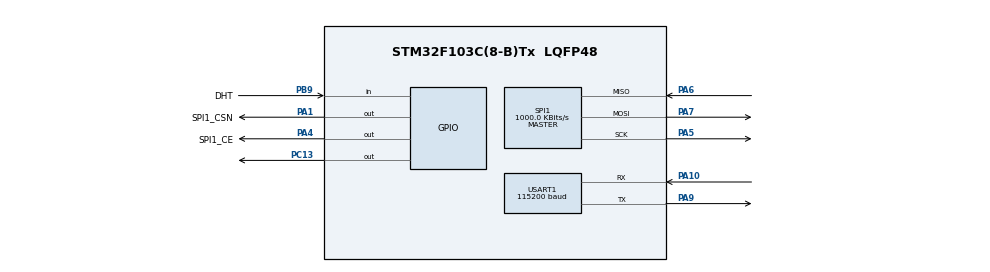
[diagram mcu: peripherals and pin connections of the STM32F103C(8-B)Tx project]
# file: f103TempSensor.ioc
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Dma.Request0=USART1_RX
Dma.Request1=USART1_TX
Dma.Request2=SPI1_RX
Dma.Request3=SPI1_TX
Dma.SPI1_RX.2.Direction=DMA_PERIPH_TO_MEMORY
Dma.SPI1_RX.2.Instance=DMA1_Channel2
Dma.SPI1_RX.2.MemDataAlignment=DMA_MDATAALIGN_BYTE
Dma.SPI1_RX.2.MemInc=DMA_MINC_ENABLE
Dma.SPI1_RX.2.Mode=DMA_NORMAL
Dma.SPI1_RX.2.PeriphDataAlignment=DMA_PDATAALIGN_BYTE
Dma.SPI1_RX.2.PeriphInc=DMA_PINC_DISABLE
Dma.SPI1_RX.2.Priority=DMA_PRIORITY_LOW
Dma.SPI1_TX.3.Direction=DMA_MEMORY_TO_PERIPH
Dma.SPI1_TX.3.Instance=DMA1_Channel3
Dma.SPI1_TX.3.MemDataAlignment=DMA_MDATAALIGN_BYTE
Dma.SPI1_TX.3.MemInc=DMA_MINC_ENABLE
Dma.SPI1_TX.3.Mode=DMA_NORMAL
Dma.SPI1_TX.3.PeriphDataAlignment=DMA_PDATAALIGN_BYTE
Dma.SPI1_TX.3.PeriphInc=DMA_PINC_DISABLE
Dma.SPI1_TX.3.Priority=DMA_PRIORITY_LOW
Dma.USART1_RX.0.Direction=DMA_PERIPH_TO_MEMORY
Dma.USART1_RX.0.Instance=DMA1_Channel5
Dma.USART1_RX.0.MemDataAlignment=DMA_MDATAALIGN_BYTE
Dma.USART1_RX.0.MemInc=DMA_MINC_ENABLE
Dma.USART1_RX.0.Mode=DMA_NORMAL
Dma.USART1_RX.0.PeriphDataAlignment=DMA_PDATAALIGN_BYTE
Dma.USART1_RX.0.PeriphInc=DMA_PINC_DISABLE
Dma.USART1_RX.0.Priority=DMA_PRIORITY_LOW
Dma.USART1_TX.1.Direction=DMA_MEMORY_TO_PERIPH
Dma.USART1_TX.1.Instance=DMA1_Channel4
Dma.USART1_TX.1.MemDataAlignment=DMA_MDATAALIGN_BYTE
Dma.USART1_TX.1.MemInc=DMA_MINC_ENABLE
Dma.USART1_TX.1.Mode=DMA_NORMAL
Dma.USART1_TX.1.PeriphDataAlignment=DMA_PDATAALIGN_BYTE
Dma.USART1_TX.1.PeriphInc=DMA_PINC_DISABLE
Dma.USART1_TX.1.Priority=DMA_PRIORITY_LOW
IWDG.Prescaler=IWDG_PRESCALER_256
Mcu.Family=STM32F1
Mcu.Name=STM32F103C(8-B)Tx
Mcu.Package=LQFP48
NVIC.DMA1_Channel2_IRQn=true\:0\:0\:false\:false\:true\:false\:true
NVIC.DMA1_Channel3_IRQn=true\:0\:0\:false\:false\:true\:false\:true
NVIC.DMA1_Channel4_IRQn=true\:0\:0\:false\:false\:true\:false\:true
NVIC.DMA1_Channel5_IRQn=true\:0\:0\:false\:false\:true\:false\:true
NVIC.PriorityGroup=NVIC_PRIORITYGROUP_4
NVIC.SPI1_IRQn=true\:0\:0\:false\:false\:true\:true\:true
NVIC.USART1_IRQn=true\:0\:0\:false\:false\:true\:true\:true
PA1.GPIO_Label=SPI1_CSN
PA1.Signal=GPIO_Output
PA10.Mode=Asynchronous
PA10.Signal=USART1_RX
PA13.Mode=Serial_Wire
PA13.Signal=SYS_JTMS-SWDIO
PA14.Mode=Serial_Wire
PA14.Signal=SYS_JTCK-SWCLK
PA4.GPIO_Label=SPI1_CE
PA4.Signal=GPIO_Output
PA5.Mode=Full_Duplex_Master
PA5.Signal=SPI1_SCK
PA6.Mode=Full_Duplex_Master
PA6.Signal=SPI1_MISO
PA7.Mode=Full_Duplex_Master
PA7.Signal=SPI1_MOSI
PA9.Mode=Asynchronous
PA9.Signal=USART1_TX
PB9.GPIO_Label=DHT
PB9.Signal=GPIO_Input
PC13-TAMPER-RTC.Signal=GPIO_Output
PC14-OSC32_IN.Mode=LSE-External-Oscillator
PC14-OSC32_IN.Signal=RCC_OSC32_IN
PC15-OSC32_OUT.Mode=LSE-External-Oscillator
PC15-OSC32_OUT.Signal=RCC_OSC32_OUT
PD0-OSC_IN.Mode=HSE-External-Oscillator
PD0-OSC_IN.Signal=RCC_OSC_IN
PD1-OSC_OUT.Mode=HSE-External-Oscillator
PD1-OSC_OUT.Signal=RCC_OSC_OUT
ProjectManager.HeapSize=0x400
ProjectManager.StackSize=0x800
ProjectManager.TargetToolchain=Other Toolchains (GPDSC)
RCC.APB1Freq_Value=8000000
RCC.APB2Freq_Value=8000000
RCC.PLLSourceVirtual=RCC_PLLSOURCE_HSE
RCC.RTCClockSelection=RCC_RTCCLKSOURCE_LSE
RCC.SYSCLKSource=RCC_SYSCLKSOURCE_HSE
RCC.USBFreq_Value=16000000
SPI1.BaudRatePrescaler=SPI_BAUDRATEPRESCALER_8
SPI1.CalculateBaudRate=1000.0 KBits/s
SPI1.Direction=SPI_DIRECTION_2LINES
SPI1.Mode=SPI_MODE_MASTER
SPI1.VirtualType=VM_MASTER
USART1.BaudRate=115200
USART1.VirtualMode=VM_ASYNC
VP_IWDG_VS_IWDG.Mode=IWDG_Activate
board=custom

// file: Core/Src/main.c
/* USER CODE BEGIN Header */
/**
  ******************************************************************************
  * @file           : main.c
  * @brief          : Main program body
  ******************************************************************************
  * @attention
  *
  * <h2><center>&copy; Copyright (c) 2019 STMicroelectronics.
  * All rights reserved.</center></h2>
  *
  * This software component is licensed by ST under BSD 3-Clause license,
  * the "License"; You may not use this file except in compliance with the
  * License. You may obtain a copy of the License at:
  *                        opensource.org/licenses/BSD-3-Clause
  *
  ******************************************************************************
  */
/* USER CODE END Header */

#include "main.h"
#include "dma.h"
#include "iwdg.h"
#include "spi.h"
#include "usart.h"
#include "gpio.h"

/* USER CODE BEGIN Includes */
#include "stdio.h"
#include "MY_NRF24.h"
#include "MY_DHT22.h"
/* USER CODE END Includes */

void SystemClock_Config(void);

/* USER CODE BEGIN 0 */
uint64_t TxpipeAddrs = 0x11223344AA;
char myTxData[20] = "T = 10.0 H = 10.0";
char AckPayload[32];
/* USER CODE END 0 */

int main(void)
{

  /* MCU Configuration--------------------------------------------------------*/

  /* Reset of all peripherals, Initializes the Flash interface and the Systick. */
  HAL_Init();

  /* Configure the system clock */
  SystemClock_Config();

  /* Initialize all configured peripherals */
  MX_GPIO_Init();
  MX_DMA_Init();
  MX_USART1_UART_Init();
  MX_SPI1_Init();
  MX_IWDG_Init();
  /* USER CODE BEGIN 2 */
	HAL_Delay(5000);
	//NRF INIT
	NRF24_begin(GPIOA, SPI1_CSN_Pin, SPI1_CE_Pin, hspi1);
	nrf24_DebugUART_Init(huart1);
	printRadioSettings();
	//**** TRANSMIT - ACK ****//
	NRF24_stopListening();
	NRF24_openWritingPipe(TxpipeAddrs);
	NRF24_setAutoAck(true);
	NRF24_setChannel(52);
	NRF24_setPayloadSize(20);
	NRF24_enableDynamicPayloads();
	NRF24_enableAckPayload();

	//DHT INIT
	DHT22_Init(GPIOB, DHT_Pin);

  /* USER CODE END 2 */

  /* Infinite loop */
  /* USER CODE BEGIN WHILE */
  while (1)
  {
	  HAL_IWDG_Refresh(&hiwdg);
	  static float humidity;
	  static float temp;
	  if (DHT22_GetTemp_Humidity(&temp, &humidity) != 0)
	  {
		  sprintf(myTxData, "To = %.1f H = %.1f", temp, humidity);
	  }

	  if (NRF24_write(myTxData, 20))
	  {
		  NRF24_read(AckPayload, 32);
		  HAL_UART_Transmit(&huart1, (uint8_t *)"Transmitted Successfully\r\n", strlen("Transmitted Successfully\r\n"), 100);

		  char myDataack[80];
		  sprintf(myDataack, "AckPayload:  %s \r\n", AckPayload);
		  HAL_UART_Transmit(&huart1, (uint8_t *)myDataack, strlen(myDataack), 100);
	  }

	  HAL_UART_Transmit_DMA(&huart1, myTxData, strlen(myTxData));
//	  HAL_UART_Transmit(&huart1, helloString, strlen(helloString), 1000);
	  HAL_Delay(1000);
	  HAL_GPIO_TogglePin(GPIOC, GPIO_PIN_13);
    /* USER CODE END WHILE */

  }
}

void SystemClock_Config(void)
{
  RCC_OscInitTypeDef RCC_OscInitStruct = {0};
  RCC_ClkInitTypeDef RCC_ClkInitStruct = {0};

  /** Initializes the CPU, AHB and APB busses clocks
  */
  RCC_OscInitStruct.OscillatorType = RCC_OSCILLATORTYPE_LSI|RCC_OSCILLATORTYPE_HSE;
  RCC_OscInitStruct.HSEState = RCC_HSE_ON;
  RCC_OscInitStruct.LSIState = RCC_LSI_ON;
  RCC_OscInitStruct.PLL.PLLState = RCC_PLL_NONE;
  if (HAL_RCC_OscConfig(&RCC_OscInitStruct) != HAL_OK)
  {
    Error_Handler();
  }
  /** Initializes the CPU, AHB and APB busses clocks
  */
  RCC_ClkInitStruct.ClockType = RCC_CLOCKTYPE_HCLK|RCC_CLOCKTYPE_SYSCLK
                              |RCC_CLOCKTYPE_PCLK1|RCC_CLOCKTYPE_PCLK2;
  RCC_ClkInitStruct.SYSCLKSource = RCC_SYSCLKSOURCE_HSE;
  RCC_ClkInitStruct.AHBCLKDivider = RCC_SYSCLK_DIV1;
  RCC_ClkInitStruct.APB1CLKDivider = RCC_HCLK_DIV1;
  RCC_ClkInitStruct.APB2CLKDivider = RCC_HCLK_DIV1;

  if (HAL_RCC_ClockConfig(&RCC_ClkInitStruct, FLASH_LATENCY_0) != HAL_OK)
  {
    Error_Handler();
  }
}

void Error_Handler(void)
{
}

/************************ (C) COPYRIGHT STMicroelectronics *****END OF FILE****/
